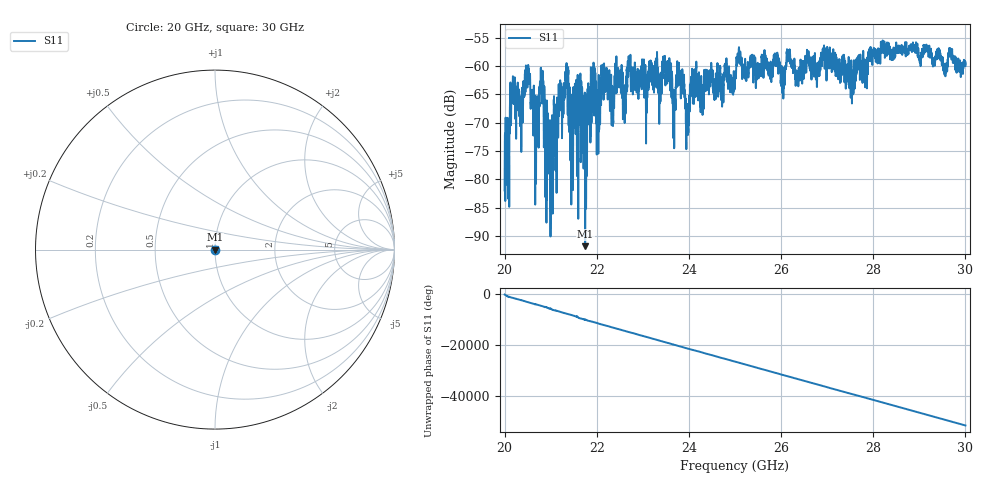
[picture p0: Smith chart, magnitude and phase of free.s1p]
#  HZ  S  RI  R  50.00
! Rohde & Schwarz ZVA40 4Ports - Version 3.90 - 1145.1110k42 SN: 100403
! Date: 2023-09-28 10:52:56
! Measurement: S12
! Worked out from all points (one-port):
!   5001 points, 20 GHz to 30 GHz, reference 50 ohm
!   lowest |S11| = -91.8 dB at 21.75 GHz (marker M1), VSWR 1.00, Z = 50 + j0.000534 ohm
!   |S11| at or under -10 dB: start of sweep to end of sweep
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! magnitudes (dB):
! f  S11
! 20 GHz  -81.9
! 20.17 GHz  -64.3
! 20.35 GHz  -66.1
! 20.51 GHz  -62.2
! 20.69 GHz  -65.3
! 20.79 GHz  -64.0
! 21 GHz  -90.1
! 21.25 GHz  -68.9
! 21.35 GHz  -62.4
! 21.46 GHz  -66.9
! 21.65 GHz  -77.0
! 21.75 GHz  -91.8
! 21.92 GHz  -67.0
! 22.03 GHz  -64.2
! 22.15 GHz  -65.9
! 22.33 GHz  -63.5
! 22.5 GHz  -62.3
! 22.6 GHz  -63.7
! 23.47 GHz  -59.8
! 23.67 GHz  -65.0
! 23.75 GHz  -59.7
! 23.97 GHz  -68.3
! 24.11 GHz  -64.7
! 25 GHz  -62.3
! 26.25 GHz  -59.9
! 27.5 GHz  -61.9
! 28.75 GHz  -57.5
! 30 GHz  -59.9
